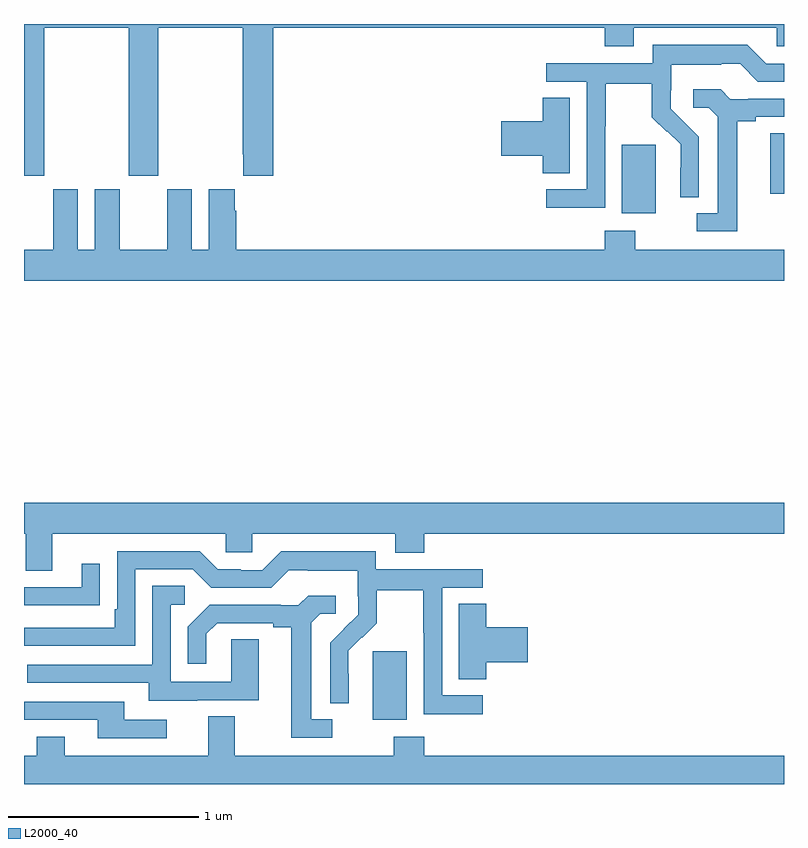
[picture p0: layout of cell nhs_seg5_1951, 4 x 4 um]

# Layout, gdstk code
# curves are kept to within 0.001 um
import gdstk
lib = gdstk.Library(unit=1e-6, precision=1e-09)
def R(c, l, rs):  # rectangles x0, y0, x1, y1
    for r in rs: c.add(gdstk.rectangle(r[:2], r[2:], *l))
def P(c, l, *ps):  # polygons
    for p in ps: c.add(gdstk.Polygon(p, *l))
L2000_40 = (2000, 40)

nhs_seg5_1951 = lib.new_cell('nhs_seg5_1951')
R(nhs_seg5_1951, L2000_40, [(228.836,833.138,229.015,833.499), (230.147,835.802,230.326,836.163), (230.927,835.905,231,836.225)])
P(nhs_seg5_1951, L2000_40, [(227.106,836.78),(227.551,836.78),(227.551,836.001),(227.706,836.001),(227.706,836.78),(228.151,836.78),(228.151,836.113),(228.155,836.113),(228.155,836.001),(228.311,836.001),(228.311,836.78),(230.057,836.78),(230.057,836.681),(230.209,836.681),(230.209,836.78),(230.961,836.78),(230.961,836.682),(231,836.682),(231,836.799),(227,836.799),(227,836.001),(227.106,836.001)],
  [(230.058,836.26),(230.061,836.26),(230.061,836.484),(230.305,836.484),(230.305,836.309),(230.382,836.232),(230.385,836.235),(230.456,836.165),(230.456,836.042),(230.454,836.042),(230.454,835.888),(230.55,835.888),(230.55,836.206),(230.404,836.354),(230.404,836.451),(230.406,836.451),(230.406,836.585),(230.669,836.585),(230.669,836.589),(230.769,836.589),(230.862,836.496),(231,836.496),(231,836.589),(230.907,836.589),(230.807,836.689),(230.31,836.689),(230.31,836.592),(229.749,836.592),(229.749,836.496),(229.962,836.496),(229.962,835.929),(229.749,835.929),(229.749,835.831),(230.058,835.831)],
  [(230.755,836.288),(230.851,836.288),(230.851,836.31),(231,836.31),(231,836.406),(230.812,836.406),(230.812,836.403),(230.718,836.403),(230.666,836.455),(230.523,836.455),(230.523,836.358),(230.604,836.358),(230.651,836.311),(230.651,835.803),(230.541,835.803),(230.541,835.707),(230.755,835.707)],
  [(229.873,836.411),(229.73,836.411),(229.73,836.288),(229.512,836.288),(229.512,836.105),(229.73,836.105),(229.73,836.014),(229.873,836.014)],
  [(231,835.612),(230.217,835.612),(230.217,835.711),(230.057,835.711),(230.057,835.612),(228.116,835.612),(228.116,835.817),(228.109,835.817),(228.109,835.93),(227.972,835.93),(227.972,835.612),(227.884,835.612),(227.884,835.93),(227.753,835.93),(227.753,835.612),(227.503,835.612),(227.503,835.93),(227.372,835.93),(227.372,835.612),(227.284,835.612),(227.284,835.93),(227.153,835.93),(227.153,835.612),(227,835.612),(227,835.448),(231,835.448)],
  [(227.149,834.116),(228.063,834.116),(228.063,834.018),(228.201,834.018),(228.201,834.116),(228.953,834.116),(228.953,834.017),(229.106,834.017),(229.106,834.116),(231,834.116),(231,834.28),(227,834.28),(227,834.116),(227.009,834.116),(227.009,833.922),(227.149,833.922)],
  [(229.414,833.265),(229.2,833.265),(229.2,833.832),(229.414,833.832),(229.414,833.928),(228.852,833.928),(228.852,834.025),(228.355,834.025),(228.255,833.925),(228.14,833.925),(228.14,833.928),(228.021,833.928),(227.925,834.024),(227.49,834.024),(227.49,833.719),(227.477,833.719),(227.477,833.622),(227,833.622),(227,833.526),(227.586,833.526),(227.586,833.928),(227.889,833.928),(227.985,833.832),(228.3,833.832),(228.393,833.925),(228.493,833.925),(228.493,833.921),(228.756,833.921),(228.756,833.787),(228.758,833.787),(228.758,833.69),(228.612,833.542),(228.612,833.224),(228.708,833.224),(228.707,833.501),(228.777,833.571),(228.78,833.568),(228.857,833.645),(228.857,833.82),(229.102,833.82),(229.102,833.596),(229.104,833.596),(229.104,833.167),(229.414,833.167)],
  [(227.297,833.74),(227.399,833.74),(227.399,833.959),(227.303,833.959),(227.303,833.835),(227,833.835),(227,833.739),(227.297,833.739)],
  [(227.911,833.241),(228.235,833.241),(228.235,833.561),(228.09,833.561),(228.09,833.337),(227.772,833.337),(227.772,833.742),(227.845,833.742),(227.845,833.843),(227.676,833.843),(227.676,833.427),(227.017,833.427),(227.017,833.331),(227.657,833.331),(227.657,833.237),(227.911,833.237)],
  [(228.622,833.139),(228.511,833.139),(228.511,833.647),(228.558,833.694),(228.64,833.694),(228.64,833.791),(228.496,833.791),(228.444,833.739),(228.35,833.739),(228.35,833.742),(227.978,833.742),(227.862,833.626),(227.862,833.433),(227.959,833.433),(227.959,833.589),(228.016,833.646),(228.311,833.646),(228.311,833.624),(228.407,833.624),(228.407,833.043),(228.622,833.043)],
  [(229.433,833.441),(229.651,833.441),(229.651,833.624),(229.433,833.624),(229.433,833.747),(229.289,833.747),(229.289,833.35),(229.433,833.35)],
  [(227.752,833.136),(227.527,833.136),(227.527,833.232),(227,833.232),(227,833.136),(227.387,833.136),(227.387,833.04),(227.752,833.04)],
  [(231,832.948),(229.106,832.948),(229.106,833.047),(228.946,833.047),(228.946,832.948),(228.109,832.948),(228.109,833.156),(227.969,833.156),(227.969,832.948),(227.215,832.948),(227.215,833.047),(227.068,833.047),(227.068,832.948),(227,832.948),(227,832.799),(231,832.799)])

lib.write_gds('nhs_seg5_1951.gds')
